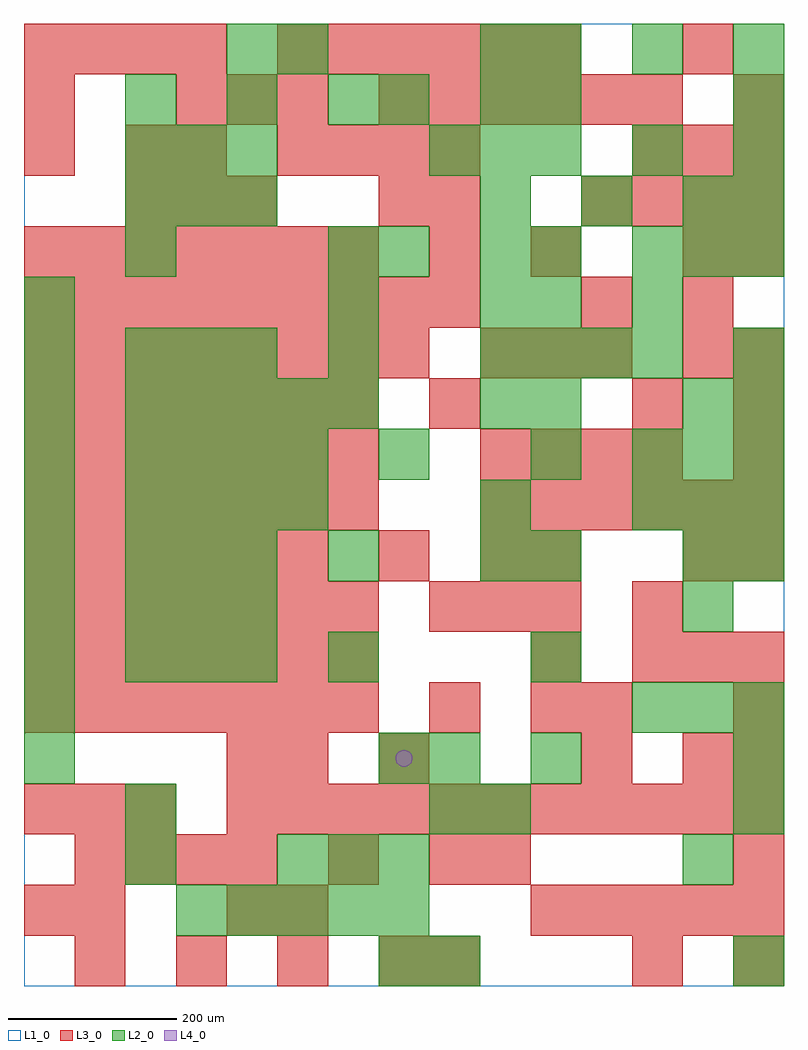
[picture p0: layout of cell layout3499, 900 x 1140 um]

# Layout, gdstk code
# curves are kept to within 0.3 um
import gdstk
lib = gdstk.Library(unit=1e-6, precision=1e-09)
def R(c, l, rs):  # rectangles x0, y0, x1, y1
    for r in rs: c.add(gdstk.rectangle(r[:2], r[2:], *l))
def A(c, l, x, y, w, h, nx, ny, dx, dy):  # array of equal rectangles
    R(c, l, [(x+i*dx, y+j*dy, x+i*dx+w, y+j*dy+h) for i in range(nx) for j in range(ny)])
def P(c, l, *ps):  # polygons
    for p in ps: c.add(gdstk.Polygon(p, *l))
L1_0 = (1, 0)
L2_0 = (2, 0)
L3_0 = (3, 0)
L4_0 = (4, 0)

layout3499 = lib.new_cell('layout3499')
R(layout3499, L1_0, [(0,0,900,1140)])
A(layout3499, L2_0, 180, 60, 60, 60, 5, 1, 60, 0)
A(layout3499, L2_0, 300, 120, 60, 60, 3, 1, 60, 0)
A(layout3499, L2_0, 0, 240, 60, 60, 1, 10, 0, 60)
A(layout3499, L2_0, 600, 240, 60, 60, 1, 4, 0, 120)
A(layout3499, L2_0, 720, 300, 60, 60, 3, 2, 60, 240)
A(layout3499, L2_0, 120, 360, 60, 60, 3, 3, 60, 60)
A(layout3499, L2_0, 120, 540, 60, 60, 4, 2, 60, 60)
A(layout3499, L2_0, 540, 540, 60, 60, 1, 3, 0, 120)
A(layout3499, L2_0, 720, 600, 60, 60, 3, 2, 60, 240)
A(layout3499, L2_0, 120, 660, 60, 60, 5, 1, 60, 0)
A(layout3499, L2_0, 120, 720, 60, 60, 3, 2, 60, 180)
A(layout3499, L2_0, 360, 720, 60, 60, 1, 3, 0, 60)
A(layout3499, L2_0, 540, 720, 60, 60, 4, 1, 60, 0)
A(layout3499, L2_0, 540, 900, 60, 60, 3, 1, 120, 0)
A(layout3499, L2_0, 840, 900, 60, 60, 1, 3, 0, 60)
A(layout3499, L2_0, 120, 960, 60, 60, 3, 1, 60, 0)
A(layout3499, L2_0, 480, 960, 60, 60, 3, 1, 60, 0)
A(layout3499, L2_0, 120, 1020, 60, 60, 3, 1, 120, 0)
A(layout3499, L2_0, 600, 1080, 60, 60, 3, 1, 120, 0)
R(layout3499, L2_0, [(420,0,480,60), (480,0,540,60), (840,0,900,60), (120,120,180,180), (780,120,840,180), (120,180,180,240), (480,180,540,240), (540,180,600,240), (840,180,900,240), (420,240,480,300), (480,240,540,300), (840,240,900,300), (360,360,420,420), (780,420,840,480), (360,480,420,540), (540,480,600,540), (780,480,840,540), (840,480,900,540), (420,600,480,660), (600,660,660,720), (780,660,840,720), (840,660,900,720), (840,720,900,780), (600,780,660,840), (720,780,780,840), (120,840,180,900), (420,840,480,900), (540,840,600,900), (600,840,660,900), (720,960,780,1020), (420,1020,480,1080), (540,1020,600,1080), (600,1020,660,1080), (240,1080,300,1140), (300,1080,360,1140), (540,1080,600,1140)])
A(layout3499, L3_0, 60, 0, 60, 60, 4, 1, 120, 0)
A(layout3499, L3_0, 840, 0, 60, 60, 1, 3, 0, 120)
A(layout3499, L3_0, 600, 60, 60, 60, 5, 1, 60, 0)
A(layout3499, L3_0, 60, 120, 60, 60, 4, 1, 60, 0)
A(layout3499, L3_0, 0, 180, 60, 60, 3, 1, 60, 0)
A(layout3499, L3_0, 240, 180, 60, 60, 11, 1, 60, 0)
A(layout3499, L3_0, 780, 240, 60, 60, 1, 3, 0, 240)
A(layout3499, L3_0, 0, 300, 60, 60, 7, 3, 60, 60)
A(layout3499, L3_0, 720, 360, 60, 60, 3, 2, 60, 600)
A(layout3499, L3_0, 480, 420, 60, 60, 3, 1, 60, 0)
A(layout3499, L3_0, 0, 480, 60, 60, 6, 1, 60, 0)
A(layout3499, L3_0, 0, 540, 60, 60, 7, 3, 60, 60)
A(layout3499, L3_0, 540, 540, 60, 60, 6, 1, 60, 0)
A(layout3499, L3_0, 540, 600, 60, 60, 4, 1, 60, 0)
A(layout3499, L3_0, 840, 600, 60, 60, 1, 3, 0, 60)
A(layout3499, L3_0, 0, 720, 60, 60, 8, 1, 60, 0)
A(layout3499, L3_0, 540, 720, 60, 60, 3, 1, 60, 0)
A(layout3499, L3_0, 0, 780, 60, 60, 9, 1, 60, 0)
A(layout3499, L3_0, 0, 840, 60, 60, 7, 1, 60, 0)
A(layout3499, L3_0, 120, 900, 60, 60, 3, 1, 60, 0)
A(layout3499, L3_0, 660, 900, 60, 60, 4, 1, 60, 0)
A(layout3499, L3_0, 300, 960, 60, 60, 4, 1, 60, 0)
A(layout3499, L3_0, 180, 1020, 60, 60, 3, 1, 60, 0)
A(layout3499, L3_0, 420, 1020, 60, 60, 6, 1, 60, 0)
A(layout3499, L3_0, 0, 1080, 60, 60, 4, 1, 60, 0)
A(layout3499, L3_0, 300, 1080, 60, 60, 6, 1, 60, 0)
R(layout3499, L3_0, [(480,0,540,60), (720,0,780,60), (0,60,60,120), (60,60,120,120), (240,60,300,120), (300,60,360,120), (360,120,420,180), (480,120,540,180), (540,120,600,180), (240,240,300,300), (300,240,360,300), (420,240,480,300), (660,240,720,300), (480,300,540,360), (600,300,660,360), (660,300,720,360), (840,300,900,360), (600,360,660,420), (720,420,780,480), (420,480,480,540), (540,480,600,540), (600,480,660,540), (840,480,900,540), (480,660,540,720), (720,660,780,720), (660,780,720,840), (780,780,840,840), (480,840,540,900), (600,840,660,900), (780,840,840,900), (840,840,900,900), (420,900,480,960), (480,900,540,960), (0,960,60,1020), (120,960,180,1020), (180,960,240,1020), (0,1020,60,1080), (840,1020,900,1080), (780,1080,840,1140)])
P(layout3499, L4_0, [(460,270),(459.239,273.827),(457.071,277.071),(453.827,279.239),(450,280),(446.173,279.239),(442.929,277.071),(440.761,273.827),(440,270),(440.761,266.173),(442.929,262.929),(446.173,260.761),(450,260),(453.827,260.761),(457.071,262.929),(459.239,266.173)])

lib.write_gds('layout3499.gds')
